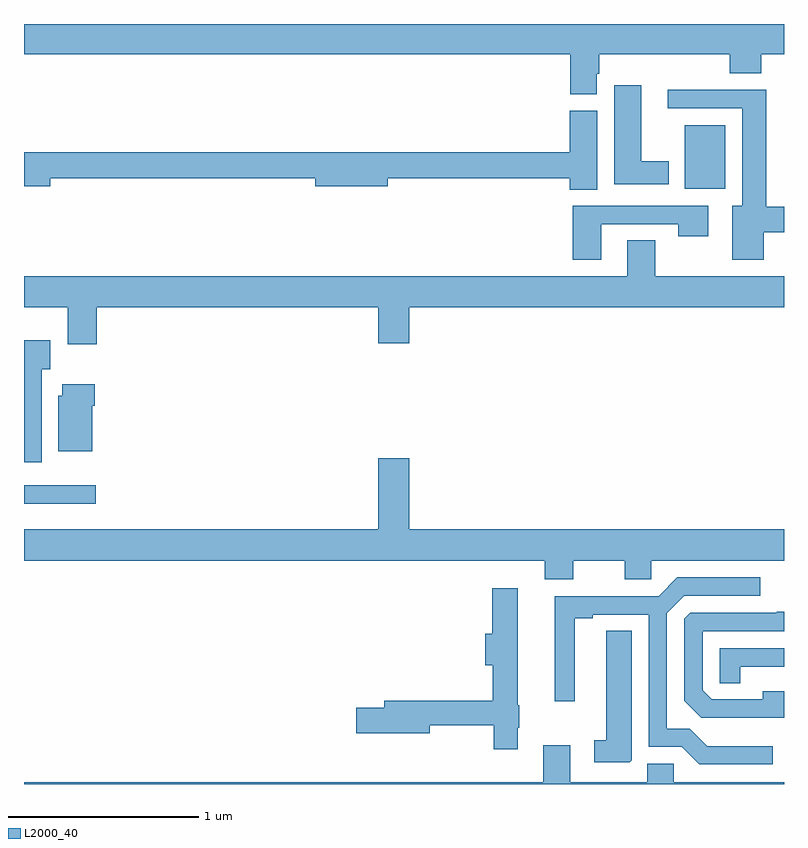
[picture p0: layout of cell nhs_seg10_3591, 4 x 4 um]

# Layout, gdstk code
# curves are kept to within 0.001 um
import gdstk
lib = gdstk.Library(unit=1e-6, precision=1e-09)
def R(c, l, rs):  # rectangles x0, y0, x1, y1
    for r in rs: c.add(gdstk.rectangle(r[:2], r[2:], *l))
def P(c, l, *ps):  # polygons
    for p in ps: c.add(gdstk.Polygon(p, *l))
L2000_40 = (2000, 40)

nhs_seg10_3591 = lib.new_cell('nhs_seg10_3591')
R(nhs_seg10_3591, L2000_40, [(307,1273.976,307.378,1274.073), (310.478,1275.632,310.69,1275.967)])
P(nhs_seg10_3591, L2000_40, [(310.015,1276.239),(310.028,1276.239),(310.028,1276.34),(310.715,1276.34),(310.715,1276.241),(310.88,1276.241),(310.88,1276.34),(311,1276.34),(311,1276.5),(307,1276.5),(307,1276.34),(309.875,1276.34),(309.875,1276.129),(310.015,1276.129)],
  [(310.393,1275.778),(310.249,1275.778),(310.249,1276.177),(310.106,1276.177),(310.106,1275.656),(310.393,1275.656)],
  [(310.894,1275.404),(311,1275.404),(311,1275.539),(310.907,1275.539),(310.907,1276.154),(310.389,1276.154),(310.389,1276.056),(310.781,1276.056),(310.781,1275.544),(310.727,1275.544),(310.727,1275.258),(310.894,1275.258)],
  [(310.018,1276.044),(309.872,1276.044),(309.872,1275.824),(307,1275.824),(307,1275.646),(307.138,1275.646),(307.138,1275.688),(308.534,1275.688),(308.534,1275.646),(308.914,1275.646),(308.914,1275.688),(309.872,1275.688),(309.872,1275.628),(310.018,1275.628)],
  [(310.039,1275.447),(310.444,1275.447),(310.444,1275.384),(310.6,1275.384),(310.6,1275.543),(309.887,1275.543),(309.887,1275.258),(310.039,1275.258)],
  [(307.382,1275.008),(308.864,1275.008),(308.864,1274.82),(309.028,1274.82),(309.028,1275.008),(311,1275.008),(311,1275.172),(310.323,1275.172),(310.323,1275.362),(310.175,1275.362),(310.175,1275.172),(307,1275.172),(307,1275.008),(307.229,1275.008),(307.229,1274.814),(307.382,1274.814)],
  [(307.093,1274.682),(307.138,1274.682),(307.138,1274.836),(307,1274.836),(307,1274.193),(307.093,1274.193)],
  [(307.36,1274.492),(307.373,1274.492),(307.373,1274.605),(307.202,1274.605),(307.202,1274.544),(307.181,1274.544),(307.181,1274.252),(307.36,1274.252)],
  [(309.892,1273.676),(310.163,1273.676),(310.163,1273.578),(310.302,1273.578),(310.302,1273.676),(311,1273.676),(311,1273.84),(309.028,1273.84),(309.028,1274.215),(308.864,1274.215),(308.864,1273.84),(307,1273.84),(307,1273.676),(309.74,1273.676),(309.74,1273.577),(309.892,1273.577)],
  [(310.942,1272.7),(310.595,1272.7),(310.504,1272.791),(310.383,1272.791),(310.383,1273.398),(310.476,1273.491),(310.876,1273.491),(310.876,1273.587),(310.439,1273.587),(310.34,1273.488),(309.794,1273.488),(309.794,1272.936),(309.898,1272.936),(309.898,1273.372),(309.994,1273.372),(309.994,1273.392),(310.287,1273.392),(310.287,1272.696),(310.461,1272.696),(310.554,1272.603),(310.942,1272.603)],
  [(309.598,1272.796),(309.606,1272.796),(309.606,1272.915),(309.598,1272.915),(309.598,1273.531),(309.464,1273.531),(309.464,1273.29),(309.428,1273.29),(309.428,1273.124),(309.467,1273.124),(309.467,1272.938),(308.897,1272.938),(308.897,1272.902),(308.748,1272.902),(308.748,1272.767),(309.136,1272.767),(309.136,1272.81),(309.472,1272.81),(309.472,1272.684),(309.598,1272.684)],
  [(310.913,1272.849),(311,1272.849),(311,1272.988),(310.889,1272.988),(310.889,1272.945),(310.62,1272.945),(310.572,1272.993),(310.572,1273.305),(311,1273.305),(311,1273.406),(310.963,1273.406),(310.963,1273.401),(310.506,1273.401),(310.476,1273.371),(310.476,1272.939),(310.565,1272.85),(310.681,1272.85),(310.681,1272.848)],
  [(310.198,1272.625),(310.198,1273.307),(310.064,1273.307),(310.064,1272.731),(310.002,1272.731),(310.002,1272.615),(310.188,1272.615)],
  [(310.771,1273.118),(311,1273.118),(311,1273.215),(310.662,1273.215),(310.662,1273.03),(310.771,1273.03)],
  [(311,1272.508),(310.419,1272.508),(310.419,1272.606),(310.28,1272.606),(310.28,1272.508),(309.874,1272.508),(309.874,1272.703),(309.734,1272.703),(309.734,1272.508),(307,1272.508),(307,1272.5),(311,1272.5)])

lib.write_gds('nhs_seg10_3591.gds')
